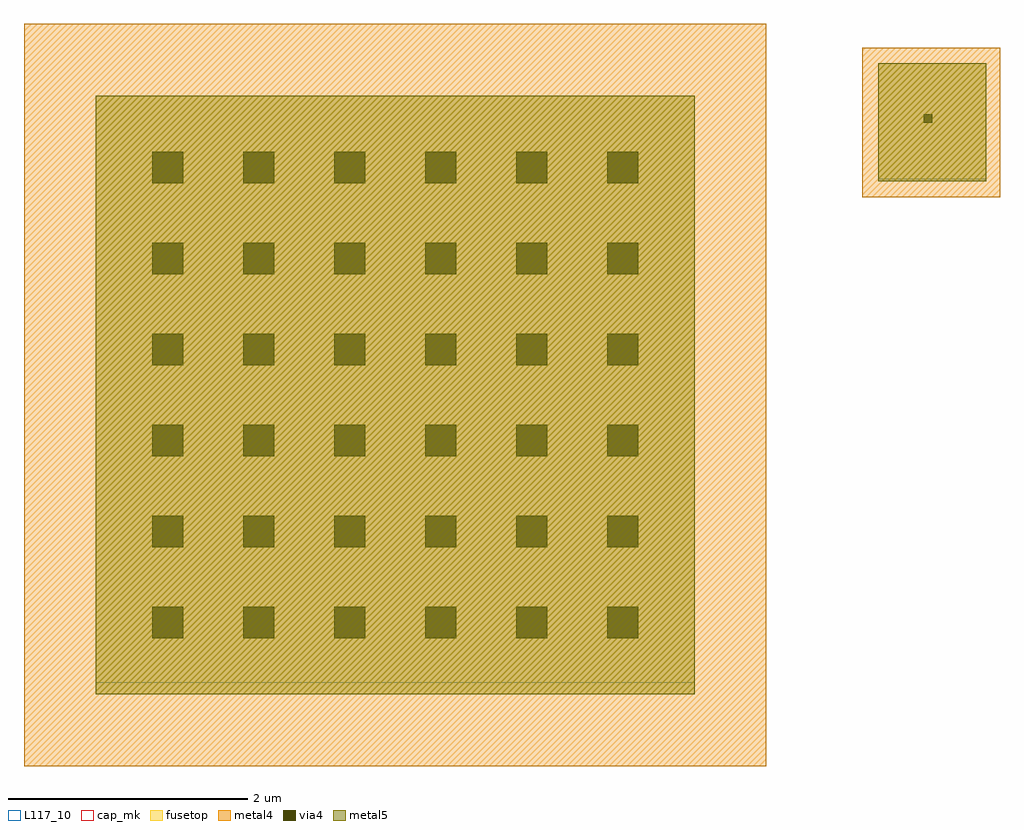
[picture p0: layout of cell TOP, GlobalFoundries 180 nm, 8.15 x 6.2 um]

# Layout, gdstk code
import gdstk
lib = gdstk.Library(unit=1e-6, precision=5e-09)
def R(c, l, rs):  # rectangles x0, y0, x1, y1
    for r in rs: c.add(gdstk.rectangle(r[:2], r[2:], *l))
def A(c, l, x, y, w, h, nx, ny, dx, dy):  # array of equal rectangles
    R(c, l, [(x+i*dx, y+j*dy, x+i*dx+w, y+j*dy+h) for i in range(nx) for j in range(ny)])
via4 = (41, 0)
metal4 = (46, 0)
fusetop = (75, 0)
metal5 = (81, 0)
cap_mk = (117, 5)
L117_10 = (117, 10)

cap_mim_1 = lib.new_cell('cap_mim$1')
A(cap_mim_1, via4, 0.47, 0.47, 0.26, 0.26, 6, 6, 0.76, 0.76)
R(cap_mim_1, metal4, [(-0.6,-0.6,5.6,5.6)])
R(cap_mim_1, fusetop, [(0,0,5,5)])
R(cap_mim_1, metal5, [(0,0,5,5)])
R(cap_mim_1, cap_mk, [(-0.6,-0.6,5.6,5.6)])
R(cap_mim_1, L117_10, [(0,0,5,0.1)])

top = lib.new_cell('TOP')
R(top, via4, [(7.515,5.375,7.585,5.445)])
R(top, metal4, [(7,4.75,8.15,6)])
R(top, fusetop, [(7.135,4.885,8.035,5.87)])
R(top, metal5, [(7.135,4.885,8.035,5.87)])
R(top, cap_mk, [(7,4.75,8.15,6)])
R(top, L117_10, [(7.135,4.885,8.035,4.905)])
top.add(gdstk.Reference(cap_mim_1, (0.6,0.6)))

lib.write_gds('TOP.gds')
